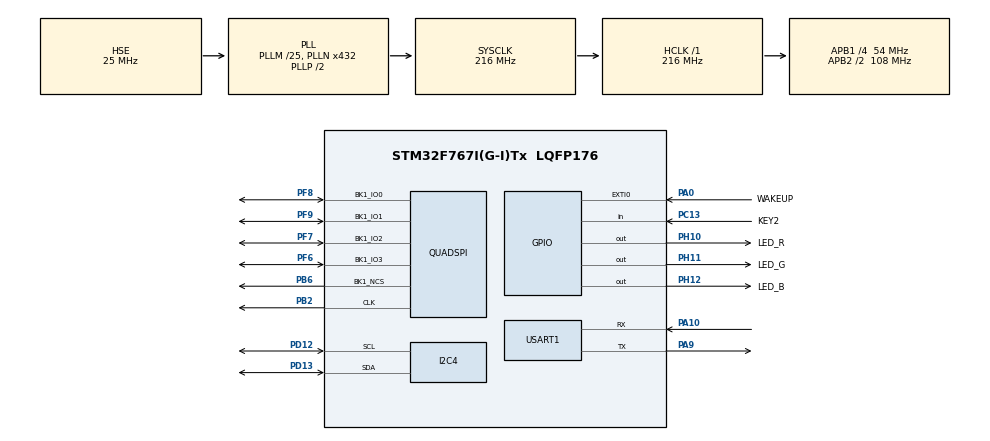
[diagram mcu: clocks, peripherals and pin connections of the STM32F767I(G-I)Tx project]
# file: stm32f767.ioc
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Dma.Request0=USART1_RX
Dma.Request1=USART1_TX
Dma.USART1_RX.0.Direction=DMA_PERIPH_TO_MEMORY
Dma.USART1_RX.0.FIFOMode=DMA_FIFOMODE_DISABLE
Dma.USART1_RX.0.Instance=DMA2_Stream2
Dma.USART1_RX.0.MemDataAlignment=DMA_MDATAALIGN_BYTE
Dma.USART1_RX.0.MemInc=DMA_MINC_ENABLE
Dma.USART1_RX.0.Mode=DMA_NORMAL
Dma.USART1_RX.0.PeriphDataAlignment=DMA_PDATAALIGN_BYTE
Dma.USART1_RX.0.PeriphInc=DMA_PINC_DISABLE
Dma.USART1_RX.0.Priority=DMA_PRIORITY_LOW
Dma.USART1_TX.1.Direction=DMA_MEMORY_TO_PERIPH
Dma.USART1_TX.1.FIFOMode=DMA_FIFOMODE_DISABLE
Dma.USART1_TX.1.Instance=DMA2_Stream7
Dma.USART1_TX.1.MemDataAlignment=DMA_MDATAALIGN_BYTE
Dma.USART1_TX.1.MemInc=DMA_MINC_ENABLE
Dma.USART1_TX.1.Mode=DMA_NORMAL
Dma.USART1_TX.1.PeriphDataAlignment=DMA_PDATAALIGN_BYTE
Dma.USART1_TX.1.PeriphInc=DMA_PINC_DISABLE
Dma.USART1_TX.1.Priority=DMA_PRIORITY_LOW
FATFS._CODE_PAGE=936
FATFS._MAX_SS=4096
FATFS._USE_LFN=2
FATFS._VOLUMES=3
I2C4.Timing=0x20404768
Mcu.Family=STM32F7
Mcu.Name=STM32F767I(G-I)Tx
Mcu.Package=LQFP176
NVIC.DMA2_Stream2_IRQn=true\:0\:0\:false\:false\:true\:false
NVIC.DMA2_Stream7_IRQn=true\:0\:0\:false\:false\:true\:false
NVIC.EXTI0_IRQn=true\:0\:0\:false\:false\:true\:true
NVIC.PriorityGroup=NVIC_PRIORITYGROUP_4
NVIC.USART1_IRQn=true\:0\:0\:false\:false\:true\:true
PA0/WKUP.GPIO_Label=WAKEUP
PA0/WKUP.Signal=GPXTI0
PA10.Mode=Asynchronous
PA10.Signal=USART1_RX
PA9.Mode=Asynchronous
PA9.Signal=USART1_TX
PB2.Mode=Single Bank 1
PB2.Signal=QUADSPI_CLK
PB6.Mode=Single Bank 1
PB6.Signal=QUADSPI_BK1_NCS
PC13.GPIO_Label=KEY2
PC13.Signal=GPIO_Input
PD12.Mode=I2C
PD12.Signal=I2C4_SCL
PD13.Mode=I2C
PD13.Signal=I2C4_SDA
PF6.Mode=Single Bank 1
PF6.Signal=QUADSPI_BK1_IO3
PF7.Mode=Single Bank 1
PF7.Signal=QUADSPI_BK1_IO2
PF8.Mode=Single Bank 1
PF8.Signal=QUADSPI_BK1_IO0
PF9.Mode=Single Bank 1
PF9.Signal=QUADSPI_BK1_IO1
PH0/OSC_IN.Mode=HSE-External-Oscillator
PH0/OSC_IN.Signal=RCC_OSC_IN
PH1/OSC_OUT.Mode=HSE-External-Oscillator
PH1/OSC_OUT.Signal=RCC_OSC_OUT
PH10.GPIO_Label=LED_R
PH10.GPIO_PuPd=GPIO_PULLUP
PH10.Signal=GPIO_Output
PH11.GPIO_Label=LED_G
PH11.GPIO_PuPd=GPIO_PULLUP
PH11.Signal=GPIO_Output
PH12.GPIO_Label=LED_B
PH12.GPIO_PuPd=GPIO_PULLUP
PH12.Signal=GPIO_Output
ProjectManager.HeapSize=0x200
ProjectManager.StackSize=0x1000
ProjectManager.TargetToolchain=MDK-ARM V5
QUADSPI.ChipSelectHighTime=QSPI_CS_HIGH_TIME_6_CYCLE
QUADSPI.ClockPrescaler=1
QUADSPI.FifoThreshold=4
QUADSPI.FlashSize=23
QUADSPI.SampleShifting=QSPI_SAMPLE_SHIFTING_HALFCYCLE
RCC.AHBFreq_Value=216000000
RCC.APB1CLKDivider=RCC_HCLK_DIV4
RCC.APB1Freq_Value=54000000
RCC.APB1TimFreq_Value=108000000
RCC.APB2CLKDivider=RCC_HCLK_DIV2
RCC.APB2Freq_Value=108000000
RCC.APB2TimFreq_Value=216000000
RCC.CortexFreq_Value=216000000
RCC.HCLKFreq_Value=216000000
RCC.HSE_VALUE=25000000
RCC.HSI_VALUE=16000000
RCC.LSE_VALUE=32768
RCC.PLLM=25
RCC.PLLN=432
RCC.PLLSourceVirtual=RCC_PLLSOURCE_HSE
RCC.SYSCLKFreq_VALUE=216000000
RCC.SYSCLKSource=RCC_SYSCLKSOURCE_PLLCLK
RCC.USBFreq_Value=216000000
RCC.VCOOutputFreq_Value=432000000
USART1.VirtualMode-Asynchronous=VM_ASYNC
VP_FATFS_VS_Generic.Mode=User_defined
board=custom

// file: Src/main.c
/**
  ******************************************************************************
  * @file           : main.c
  * @brief          : Main program body
  * @author         : greedyhao
  * @note           : 个人博客网站：http://greedyhao.cc/
  ******************************************************************************
  * This notice applies to any and all portions of this file
  * that are not between comment pairs USER CODE BEGIN and
  * USER CODE END. Other portions of this file, whether
  * inserted by the user or by software development tools
  * are owned by their respective copyright owners.
  *
  * Copyright (c) 2018 STMicroelectronics International N.V.
  * All rights reserved.
  *
  * Redistribution and use in source and binary forms, with or without
  * modification, are permitted, provided that the following conditions are met:
  *
  * 1. Redistribution of source code must retain the above copyright notice,
  *    this list of conditions and the following disclaimer.
  * 2. Redistributions in binary form must reproduce the above copyright notice,
  *    this list of conditions and the following disclaimer in the documentation
  *    and/or other materials provided with the distribution.
  * 3. Neither the name of STMicroelectronics nor the names of other
  *    contributors to this software may be used to endorse or promote products
  *    derived from this software without specific written permission.
  * 4. This software, including modifications and/or derivative works of this
  *    software, must execute solely and exclusively on microcontroller or
  *    microprocessor devices manufactured by or for STMicroelectronics.
  * 5. Redistribution and use of this software other than as permitted under
  *    this license is void and will automatically terminate your rights under
  *    this license.
  *
  * THIS SOFTWARE IS PROVIDED BY STMICROELECTRONICS AND CONTRIBUTORS "AS IS"
  * AND ANY EXPRESS, IMPLIED OR STATUTORY WARRANTIES, INCLUDING, BUT NOT
  * LIMITED TO, THE IMPLIED WARRANTIES OF MERCHANTABILITY, FITNESS FOR A
  * PARTICULAR PURPOSE AND NON-INFRINGEMENT OF THIRD PARTY INTELLECTUAL PROPERTY
  * RIGHTS ARE DISCLAIMED TO THE FULLEST EXTENT PERMITTED BY LAW. IN NO EVENT
  * SHALL STMICROELECTRONICS OR CONTRIBUTORS BE LIABLE FOR ANY DIRECT, INDIRECT,
  * INCIDENTAL, SPECIAL, EXEMPLARY, OR CONSEQUENTIAL DAMAGES (INCLUDING, BUT NOT
  * LIMITED TO, PROCUREMENT OF SUBSTITUTE GOODS OR SERVICES; LOSS OF USE, DATA,
  * OR PROFITS; OR BUSINESS INTERRUPTION) HOWEVER CAUSED AND ON ANY THEORY OF
  * LIABILITY, WHETHER IN CONTRACT, STRICT LIABILITY, OR TORT (INCLUDING
  * NEGLIGENCE OR OTHERWISE) ARISING IN ANY WAY OUT OF THE USE OF THIS SOFTWARE,
  * EVEN IF ADVISED OF THE POSSIBILITY OF SUCH DAMAGE.
  *
  ******************************************************************************
  */
#include "main.h"
#include "stm32f7xx_hal.h"
#include "dma.h"
#include "fatfs.h"
#include "i2c.h"
#include "quadspi.h"
#include "usart.h"
#include "gpio.h"

/* USER CODE BEGIN Includes */
#include "stdio.h"
#include <string.h>
//#include "log.h"
/* USER CODE END Includes */

/* USER CODE BEGIN PV */
/* Private variables ---------------------------------------------------------*/

//typedef enum { FAILED = 0, PASSED = !FAILED} TestStatus;

UINT fnum;            			  /* 文件成功读写数量 */
BYTE ReadBuffer[1024]={0};        /* 读缓冲区 */
BYTE WriteBuffer[] =              /* 写缓冲区*/
"欢迎使用野火STM32 F767开发板 今天是个好日子，新建文件系统测试文件\r\n";

/* USER CODE END PV */

void SystemClock_Config(void);

/* USER CODE BEGIN PFP */
/* Private function prototypes -----------------------------------------------*/

/* USER CODE END PFP */

int main(void)
{

  /* MCU Configuration----------------------------------------------------------*/

  /* Reset of all peripherals, Initializes the Flash interface and the Systick. */
  HAL_Init();

  /* USER CODE BEGIN Init */
  SCB_EnableICache();
  SCB_EnableDCache();

  /* USER CODE END Init */

  /* Configure the system clock */
  SystemClock_Config();

  /* Initialize all configured peripherals */
  MX_GPIO_Init();
  MX_DMA_Init();
  MX_USART1_UART_Init();
  MX_I2C4_Init();
  MX_QUADSPI_Init();
  MX_FATFS_Init();
  /* USER CODE BEGIN 2 */
  BSP_LED_Off(LED_R);
  BSP_LED_Off(LED_B);
  BSP_LED_Off(LED_G);

 	printf("****** 这是一个SPI FLASH 文件系统实验 ******\r\n");
//  printf("flash id=%d\n",QSPI_FLASH_ReadID());
	//在外部SPI Flash挂载文件系统，文件系统挂载时会对SPI设备初始化
	retUSER = f_mount(&USERFatFS,"0:",1);

	/*----------------------- 格式化测试 ---------------------------*/
	/* 如果没有文件系统就格式化创建创建文件系统 */
	if(retUSER == FR_NO_FILESYSTEM)
	{
		printf("》FLASH还没有文件系统，即将进行格式化...\r\n");
		/* 格式化 */
		retUSER=f_mkfs("0:",FM_ANY, 0, ReadBuffer, sizeof(ReadBuffer));

		if(retUSER == FR_OK)
		{
			printf("》FLASH已成功格式化文件系统。\r\n");
			/* 格式化后，先取消挂载 */
			retUSER = f_mount(NULL,"0:",1);
			/* 重新挂载	*/
			retUSER = f_mount(&USERFatFS,"0:",1);
		}
		else
		{
			LED_RED;
			printf("《《格式化失败。》》\r\n");
			while(1);
		}
	}
	else if(retUSER!=FR_OK)
	{
		printf("！！外部Flash挂载文件系统失败。(%d)\r\n",retUSER);
		printf("！！可能原因：SPI Flash初始化不成功。\r\n");
		while(1);
	}
	else
	{
		printf("》文件系统挂载成功，可以进行读写测试\r\n");
	}

	/*----------------------- 文件系统测试：写测试 -----------------------------*/
	/* 打开文件，如果文件不存在则创建它 */
	printf("\r\n****** 即将进行文件写入测试... ******\r\n");
	retUSER = f_open(&USERFile, "0:FatUSERFatFS读写测试文件.txt",FA_CREATE_ALWAYS | FA_WRITE );
//  LOG_ERROR(retUSER);
	if ( retUSER == FR_OK )
	{
		printf("》打开/创建FatUSERFatFS读写测试文件.txt文件成功，向文件写入数据。\r\n");
    /* 将指定存储区内容写入到文件内 */
		retUSER=f_write(&USERFile,WriteBuffer,sizeof(WriteBuffer),&fnum);
    if(retUSER==FR_OK)
    {
      printf("》文件写入成功，写入字节数据：%d\n",fnum);
      printf("》向文件写入的数据为：\r\n%s\r\n",WriteBuffer);
    }
    else
    {
      printf("！！文件写入失败：(%d)\n",retUSER);
    }
		/* 不再读写，关闭文件 */
    f_close(&USERFile);
	}
	else
	{
		LED_RED;
		printf("！！打开/创建文件失败。\r\n");
	}

/*------------------- 文件系统测试：读测试 ------------------------------------*/
	printf("****** 即将进行文件读取测试... ******\r\n");
	retUSER = f_open(&USERFile, "0:FatUSERFatFS读写测试文件.txt", FA_OPEN_EXISTING | FA_READ);
	if(retUSER == FR_OK)
	{
		LED_GREEN;
		printf("》打开文件成功。\r\n");
		retUSER = f_read(&USERFile, ReadBuffer, sizeof(ReadBuffer), &fnum);
    if(retUSER==FR_OK)
    {
      printf("》文件读取成功,读到字节数据：%d\r\n",fnum);
      printf("》读取得的文件数据为：\r\n%s \r\n", ReadBuffer);
    }
    else
    {
      printf("！！文件读取失败：(%d)\n",retUSER);
    }
	}
	else
	{
		LED_RED;
		printf("！！打开文件失败。\r\n");
	}
	/* 不再读写，关闭文件 */
	f_close(&USERFile);

	/* 不再使用文件系统，取消挂载文件系统 */
	f_mount(NULL,"0:",1);

	/* 操作完成，停机 */
  /* USER CODE END 2 */

  /* Infinite loop */
  while (1)
  {

  }

}

void SystemClock_Config(void)
{

  RCC_OscInitTypeDef RCC_OscInitStruct;
  RCC_ClkInitTypeDef RCC_ClkInitStruct;
  RCC_PeriphCLKInitTypeDef PeriphClkInitStruct;

    /**Configure the main internal regulator output voltage
    */
  __HAL_RCC_PWR_CLK_ENABLE();

  __HAL_PWR_VOLTAGESCALING_CONFIG(PWR_REGULATOR_VOLTAGE_SCALE1);

    /**Initializes the CPU, AHB and APB busses clocks
    */
  RCC_OscInitStruct.OscillatorType = RCC_OSCILLATORTYPE_HSE;
  RCC_OscInitStruct.HSEState = RCC_HSE_ON;
  RCC_OscInitStruct.PLL.PLLState = RCC_PLL_ON;
  RCC_OscInitStruct.PLL.PLLSource = RCC_PLLSOURCE_HSE;
  RCC_OscInitStruct.PLL.PLLM = 25;
  RCC_OscInitStruct.PLL.PLLN = 432;
  RCC_OscInitStruct.PLL.PLLP = RCC_PLLP_DIV2;
  RCC_OscInitStruct.PLL.PLLQ = 2;
  if (HAL_RCC_OscConfig(&RCC_OscInitStruct) != HAL_OK)
  {
    _Error_Handler(__FILE__, __LINE__);
  }

    /**Activate the Over-Drive mode
    */
  if (HAL_PWREx_EnableOverDrive() != HAL_OK)
  {
    _Error_Handler(__FILE__, __LINE__);
  }

    /**Initializes the CPU, AHB and APB busses clocks
    */
  RCC_ClkInitStruct.ClockType = RCC_CLOCKTYPE_HCLK|RCC_CLOCKTYPE_SYSCLK
                              |RCC_CLOCKTYPE_PCLK1|RCC_CLOCKTYPE_PCLK2;
  RCC_ClkInitStruct.SYSCLKSource = RCC_SYSCLKSOURCE_PLLCLK;
  RCC_ClkInitStruct.AHBCLKDivider = RCC_SYSCLK_DIV1;
  RCC_ClkInitStruct.APB1CLKDivider = RCC_HCLK_DIV4;
  RCC_ClkInitStruct.APB2CLKDivider = RCC_HCLK_DIV2;

  if (HAL_RCC_ClockConfig(&RCC_ClkInitStruct, FLASH_LATENCY_7) != HAL_OK)
  {
    _Error_Handler(__FILE__, __LINE__);
  }

  PeriphClkInitStruct.PeriphClockSelection = RCC_PERIPHCLK_USART1|RCC_PERIPHCLK_I2C4;
  PeriphClkInitStruct.Usart1ClockSelection = RCC_USART1CLKSOURCE_PCLK2;
  PeriphClkInitStruct.I2c4ClockSelection = RCC_I2C4CLKSOURCE_PCLK1;
  if (HAL_RCCEx_PeriphCLKConfig(&PeriphClkInitStruct) != HAL_OK)
  {
    _Error_Handler(__FILE__, __LINE__);
  }

    /**Configure the Systick interrupt time
    */
  HAL_SYSTICK_Config(HAL_RCC_GetHCLKFreq()/1000);

    /**Configure the Systick
    */
  HAL_SYSTICK_CLKSourceConfig(SYSTICK_CLKSOURCE_HCLK);

  /* SysTick_IRQn interrupt configuration */
  HAL_NVIC_SetPriority(SysTick_IRQn, 0, 0);
}

/* USER CODE BEGIN 4 */
/**
  * @brief EXTI line detection callbacks
  * @param GPIO_Pin: Specifies the pins connected EXTI line
  * @retval None
  */
void HAL_GPIO_EXTI_Callback(uint16_t GPIO_Pin)
{
  if(GPIO_Pin == GPIO_PIN_0)
  {
    /* Toggle LED1 */
    BSP_LED_Toggle(LED_B);
  }
}

void HAL_UART_RxCpltCallback(UART_HandleTypeDef *huart)
{

//    if(huart->Instance == USART1)   // 判断是由哪个串口触发的中断
//    {
//      HAL_UART_Transmit(&huart1,Rx_Buffer,1,100);    // 接收到数据马上使用串口1发送出去
//      HAL_UART_Receive_IT(&huart1,Rx_Buffer,1);      // 重新使能串口1接收中断
//    }
}

///*
// * 函数名：Buffercmp
// * 描述  ：比较两个缓冲区中的数据是否相等
// * 输入  ：-pBuffer1     src缓冲区指针
// *         -pBuffer2     dst缓冲区指针
// *         -BufferLength 缓冲区长度
// * 输出  ：无
// * 返回  ：-PASSED pBuffer1 等于   pBuffer2
// *         -FAILED pBuffer1 不同于 pBuffer2
// */
//TestStatus Buffercmp(uint8_t* pBuffer1, uint8_t* pBuffer2, uint16_t BufferLength)
//{
//  while(BufferLength--)
//  {
//    if(*pBuffer1 != *pBuffer2)
//    {
//      return FAILED;
//    }

//    pBuffer1++;
//    pBuffer2++;
//  }
//  return PASSED;
//}
void log_error(uint8_t code)
{
  switch(code)
    {
      case FR_OK:				/* (0) Succeeded */
        printf("FR_OK\n");break;
      case FR_DISK_ERR:			/* (1) A hard error occurred in the low level disk I/O layer */
        printf("FR_DISK_ERR\n");break;
      case FR_INT_ERR:				/* (2) Assertion failed */
        printf("FR_INT_ERR\n");break;
      case FR_NOT_READY:			/* (3) The physical drive cannot work */
        printf("FR_NOT_READY\n");break;
      case FR_NO_FILE:				/* (4) Could not find the file */
        printf("FR_NO_FILE\n");break;
      case FR_NO_PATH:				/* (5) Could not find the path */
        printf("FR_NO_PATH\n");break;
      case FR_INVALID_NAME:		/* (6) The path name format is invalid */
        printf("FR_INVALID_NAME\n");break;
      case FR_DENIED:				/* (7) Access denied due to prohibited access or directory full */
        printf("FR_DENIED\n");break;
      case FR_EXIST:			/* (8) Access denied due to prohibited access */
        printf("FR_EXIST：\n");break;
      case FR_INVALID_OBJECT:		/* (9) The file/directory object is invalid */
        printf("FR_INVALID_OBJECT\n");break;
      case FR_WRITE_PROTECTED:		/* (10) The physical drive is write protected */
        printf("FR_WRITE_PROTECTED\n");break;
      case FR_INVALID_DRIVE:		/* (11) The logical drive number is invalid */
        printf("FR_INVALID_DRIVE\n");break;
      case FR_NOT_ENABLED:			/* (12) The volume has no work area */
        printf("FR_NOT_ENABLED\n");break;
      case FR_NO_FILESYSTEM:		/* (13) There is no valid FAT volume */
        printf("FR_NO_FILESYSTEM\n");break;
      case FR_MKFS_ABORTED:		/* (14) The f_mkfs() aborted due to any problem */
        printf("FR_MKFS_ABORTED\n");break;
      case FR_TIMEOUT:				/* (15) Could not get a grant to access the volume within defined period */
        printf("FR_TIMEOUT\n");break;
      case FR_LOCKED:				/* (16) The operation is rejected according to the file sharing policy */
        printf("FR_LOCKED\n");break;
      case FR_NOT_ENOUGH_CORE:		/* (17) LFN working buffer could not be allocated */
        printf("FR_NOT_ENOUGH_CORE\n");break;
      case FR_TOO_MANY_OPEN_FILES:	/* (18) Number of open files > _FS_LOCK */
        printf("FR_TOO_MANY_OPEN_FILES\n");break;
      case FR_INVALID_PARAMETER:	/* (19) Given parameter is invalid */
        printf("FR_INVALID_PARAMETER\n");break;
    }
    printf("<<-FUNC->> Func:%s@Line:%d\n",__func__,__LINE__);\
}
/* USER CODE END 4 */

void _Error_Handler(char *file, int line)
{
  while(1)
  {
  }
}

/************************ (C) COPYRIGHT STMicroelectronics *****END OF FILE****/
